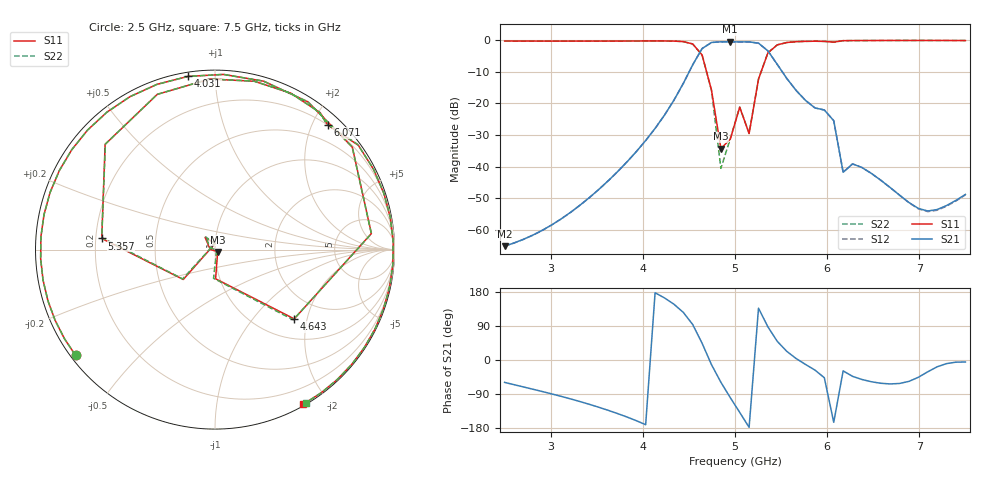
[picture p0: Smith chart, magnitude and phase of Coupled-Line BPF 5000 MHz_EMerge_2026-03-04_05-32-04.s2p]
! Generated by EMerge - 2-port S-parameters
! File generated: 2026-03-04 05:32
! --- Coupled-Line BPF 5000 MHz ---
! Substrate: RO4003C
! h = 0.508 mm
! W50 = 1.1 mm, Lfeed = 5 mm
! L1 = 8.93 mm, S1 = 0.11 mm, W1 = 0.76 mm
! L2 = 8.93 mm, S2 = 0.11 mm, W2 = 1.08 mm
! Run time = 0.90 min
# GHZ S RI R 50
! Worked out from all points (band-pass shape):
!   50 points, 2.5 GHz to 7.5 GHz, reference 50 ohm
!   highest |S21| = -0.46 dB at 4.949 GHz (marker M1); lowest = -65.2 dB at 2.5 GHz (marker M2)
!   |S21| within 3 dB of the highest: 4.626 GHz to 5.36 GHz (734 MHz wide, 14.7 % of centre)
!   lowest |S11| = -34.3 dB at 4.847 GHz (marker M3), VSWR 1.04, Z = 51.5 - j1.29 ohm
!   |S11| at or under -10 dB: 4.692 GHz to 5.283 GHz (591.2 MHz wide, 11.9 % of centre)
!   |S22| runs from -40.6 to 0.0 dB; largest |S21 - S12| = 0.00049
!   S11 on the Smith chart (normalised r, x): 2.5 GHz: 0.01, -0.34; 4.031 GHz: 0.02, +0.86; 4.643 GHz: 1.42, -1.67; 5.357 GHz: 0.22, +0.05; 6.071 GHz: 0.20, +2.24; 7.5 GHz: 0.02, -1.72
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2.5  -0.7772 -0.5893  0.000282 -0.00047  0.000281 -0.00047  -0.777 -0.5896
3.418367  -0.8674 0.4399  -0.00145 -0.00286  -0.00145 -0.00286  -0.8679 0.439
4.030612  -0.1496 0.9651  -0.0255 -0.00418  -0.0255 -0.00417  -0.1519 0.9647
4.234694  0.2719 0.9381  -0.0627 0.0181  -0.0626 0.0181  0.2695 0.9388
4.438776  0.7652 0.5705  -0.1208 0.1683  -0.1207 0.1682  0.7644 0.5714
4.540816  0.8713 0.0897  -0.0267 0.4077  -0.0266 0.4074  0.8713 0.088
4.642857  0.4412 -0.386  0.5302 0.5165  0.5299 0.5162  0.4357 -0.3911
4.744898  0.00325 -0.1625  0.9044 -0.197  0.9039 -0.1969  -0.00797 -0.16
4.846939  0.0147 -0.0125  0.4907 -0.8094  0.4904 -0.809  0.00883 -0.00312
4.94898  -0.0271 0.00154  -0.155 -0.9352  -0.1549 -0.9347  -0.026 0.00966
5.05102  -0.0548 0.0679  -0.7032 -0.6296  -0.703 -0.6293  -0.052 0.0707
5.153061  -0.000127 0.0333  -0.9435 -0.0369  -0.9431 -0.0369  -0.000838 0.0336
5.255102  -0.1769 -0.1666  -0.6563 0.6187  -0.656 0.6184  -0.1801 -0.1633
5.357143  -0.6312 0.0619  0.0302 0.68  0.0302 0.6798  -0.6309 0.0669
5.561224  -0.3216 0.865  0.2299 0.0975  0.2298 0.0975  -0.3216 0.8651
5.867347  0.4225 0.8713  0.0759 -0.038  0.0759 -0.038  0.418 0.8735
6.071429  0.6273 0.6948  -0.0513 -0.0143  -0.0513 -0.0143  0.6225 0.6993
6.173469  0.7988 0.581  0.00711 -0.0039  0.0071 -0.00392  0.7939 0.5875
6.27551  0.8842 0.446  0.00804 -0.00753  0.00803 -0.00755  0.8801 0.4539
6.683673  0.9906 -0.0879  0.0021 -0.00415  0.00207 -0.00415  0.9916 -0.0762
7.091837  0.83 -0.549  0.00169 -0.00102  0.00165 -0.001  0.8374 -0.5377
7.5  0.4922 -0.8615  0.0036 -0.000335  0.00354 -0.000244  0.5046 -0.8544
